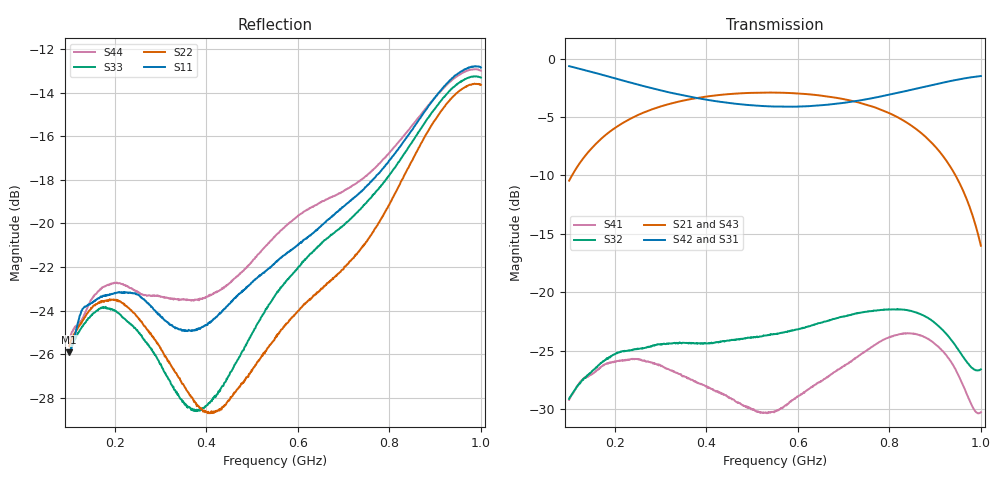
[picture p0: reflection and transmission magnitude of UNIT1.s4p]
!Mini-Circuits Laboratory
!S-Parameters
!MODEL: QBA-07+
!Run/Lot/Date Code:MU98180/1420
!DATA FOR:UNIT#1
!Fixture/SN/Due:TB-115;WITH PORT EXTENTION
!Connection:PORT-1-pin<1>;PORT-2-pin<10>;PORT-3-pin<6>;PORT-4-pin<5>
!Created: 10-29-2015 at 12:49:14
# MHZ S DB R 50
!Frequency  S11 dB  S11 DEG  S12 dB  S12 DEG  S13 dB  S13 DEG  S14 dB  S14 DEG
!  S21 dB  S21 DEG  S22 dB  S22 DEG  S23 dB  S23 DEG  S24 dB  S24 DEG
!  S31 dB  S31 DEG  S32 dB  S32 DEG  S33 dB  S33 DEG  S34 dB  S34 DEG
!  S41 dB  S41 DEG  S42 dB  S42 DEG  S43 dB  S43 DEG  S44 dB  S44 DEG
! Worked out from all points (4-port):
!   901 points, 100 MHz to 1 GHz, reference 50 ohm
!   strongest paths, dB at 100 MHz, 325 MHz, 550 MHz, 775 MHz, 1 GHz:
!     S42: -0.7, -2.9, -4.1, -3.3, -1.5
!     S31: -0.7, -2.9, -4.1, -3.3, -1.5
!     S21: -10.5, -3.8, -2.9, -4.3, -16.0
!     S43: -10.5, -3.8, -2.9, -4.3, -15.7
!     S32: -29.1, -24.4, -23.6, -21.6, -26.6
!     S41: -29.2, -26.7, -30.2, -24.3, -30.3
!   lowest |S11| = -25.9 dB at 100 MHz (marker M1), VSWR 1.11, Z = 48.5 - j4.77 ohm
!   |S11| at or under -10 dB: start of sweep to end of sweep
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100  -25.92 -104.3  -10.45 60.0  -0.66 -28.2  -29.40 46.7
     -10.46 60.0  -25.63 -109.3  -29.11 38.8  -0.65 -28.2
     -0.66 -28.2  -29.14 39.2  -25.92 -109.3  -10.46 60.0
     -29.22 46.3  -0.65 -28.2  -10.46 60.0  -25.32 -106.4
247  -23.26 -139.5  -4.90 27.6  -2.20 -61.3  -25.94 -27.6
     -4.90 27.6  -24.25 -154.3  -24.82 -43.9  -2.19 -61.4
     -2.20 -61.3  -24.87 -43.9  -24.88 -150.6  -4.91 27.7
     -25.73 -27.1  -2.19 -61.4  -4.90 27.8  -23.12 -139.5
374  -24.91 -132.5  -3.41 5.8  -3.34 -84.1  -27.74 -85.0
     -3.41 5.8  -28.16 -145.6  -24.40 -102.8  -3.34 -84.2
     -3.34 -84.0  -24.39 -103.3  -28.55 -132.5  -3.42 6.0
     -27.66 -83.7  -3.34 -84.2  -3.43 6.0  -23.53 -129.9
481  -23.05 -114.5  -2.96 -10.4  -3.94 -100.9  -29.67 -139.8
     -2.96 -10.4  -27.31 -111.4  -24.00 -149.8  -3.94 -101.0
     -3.94 -100.9  -23.99 -150.1  -25.81 -100.6  -2.98 -10.1
     -29.68 -138.4  -3.94 -101.0  -2.98 -10.1  -22.17 -118.4
787  -17.46 -97.5  -4.46 -57.5  -3.21 -149.8  -24.07 59.3
     -4.46 -57.6  -19.62 -79.3  -21.53 88.0  -3.20 -150.1
     -3.21 -149.8  -21.50 87.9  -18.13 -87.3  -4.48 -56.4
     -24.07 59.1  -3.20 -150.1  -4.48 -56.5  -17.05 -108.7
920  -13.70 -104.8  -8.49 -82.3  -2.05 -179.3  -25.19 10.1
     -8.49 -82.3  -14.65 -85.8  -23.38 40.7  -2.03 -179.7
     -2.04 -179.3  -23.39 40.8  -14.18 -94.2  -8.46 -79.9
     -25.18 10.3  -2.03 -179.7  -8.46 -79.9  -13.76 -113.8
1000  -12.85 -122.0  -16.03 -91.0  -1.51 158.5  -30.30 35.1
      -16.03 -91.0  -13.64 -103.0  -26.62 53.5  -1.49 158.1
      -1.51 158.5  -26.61 53.4  -13.31 -110.8  -15.71 -85.2
      -30.29 35.2  -1.50 158.1  -15.71 -85.2  -12.99 -130.8
